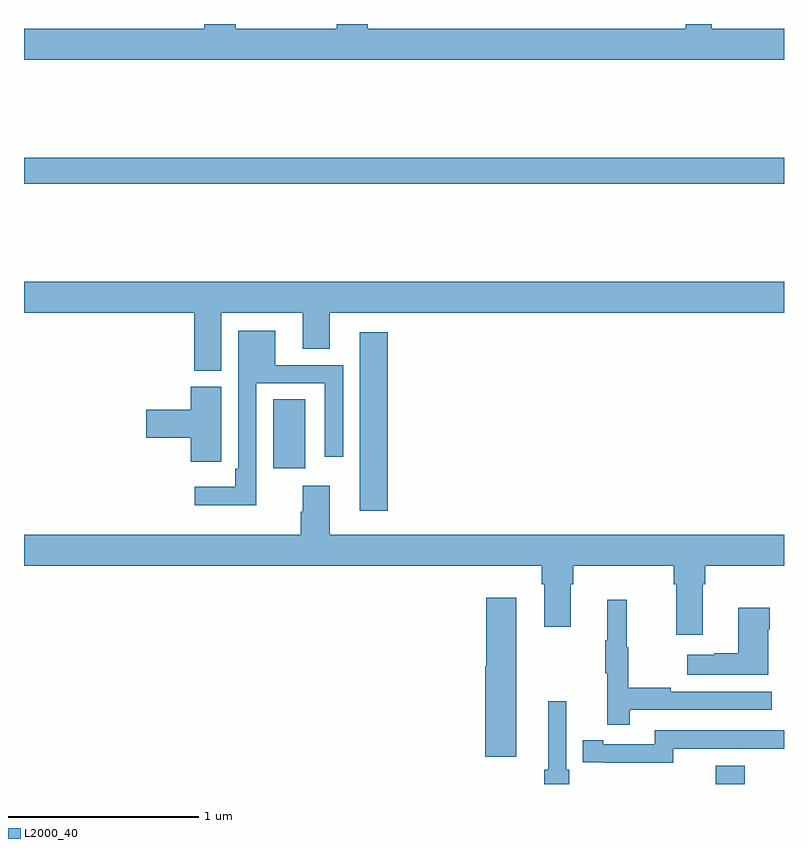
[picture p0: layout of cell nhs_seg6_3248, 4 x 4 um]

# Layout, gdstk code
import gdstk
lib = gdstk.Library(unit=1e-6, precision=1e-09)
def R(c, l, rs):  # rectangles x0, y0, x1, y1
    for r in rs: c.add(gdstk.rectangle(r[:2], r[2:], *l))
def P(c, l, *ps):  # polygons
    for p in ps: c.add(gdstk.Polygon(p, *l))
L2000_40 = (2000, 40)

nhs_seg6_3248 = lib.new_cell('nhs_seg6_3248')
R(nhs_seg6_3248, L2000_40, [(304.64,967.5,304.793,967.597), (302.768,968.937,302.915,969.877), (302.312,969.162,302.479,969.524), (301,970.66,305,970.796)])
P(nhs_seg6_3248, L2000_40, [(305,971.476),(304.621,971.476),(304.621,971.5),(304.482,971.5),(304.482,971.476),(302.81,971.476),(302.81,971.5),(302.645,971.5),(302.645,971.476),(302.114,971.476),(302.114,971.5),(301.949,971.5),(301.949,971.476),(301,971.476),(301,971.312),(305,971.312)],
  [(302.038,969.98),(302.468,969.98),(302.468,969.79),(302.608,969.79),(302.608,969.98),(305,969.98),(305,970.144),(301,970.144),(301,969.98),(301.895,969.98),(301.895,969.676),(302.038,969.676)],
  [(302.223,969.609),(302.583,969.609),(302.583,969.222),(302.679,969.222),(302.679,969.705),(302.323,969.705),(302.323,969.886),(302.127,969.886),(302.127,969.16),(302.111,969.16),(302.111,969.064),(301.899,969.064),(301.899,968.966),(302.223,968.966)],
  [(302.037,969.307),(302.038,969.307),(302.038,969.591),(301.877,969.591),(301.877,969.47),(301.644,969.47),(301.644,969.323),(301.877,969.323),(301.877,969.195),(302.037,969.195)],
  [(302.608,969.07),(302.468,969.07),(302.468,968.933),(302.456,968.933),(302.456,968.812),(301,968.812),(301,968.648),(303.725,968.648),(303.725,968.552),(303.737,968.552),(303.737,968.328),(303.877,968.328),(303.877,968.552),(303.89,968.552),(303.89,968.648),(304.421,968.648),(304.421,968.552),(304.433,968.552),(304.433,968.286),(304.573,968.286),(304.573,968.552),(304.586,968.552),(304.586,968.648),(305,968.648),(305,968.812),(302.608,968.812)],
  [(303.592,968.479),(303.434,968.479),(303.434,968.121),(303.428,968.121),(303.428,967.644),(303.592,967.644)],
  [(304.187,967.89),(304.936,967.89),(304.936,967.986),(304.403,967.986),(304.403,968.006),(304.18,968.006),(304.18,968.22),(304.172,968.22),(304.172,968.47),(304.07,968.47),(304.07,968.257),(304.059,968.257),(304.059,968.083),(304.07,968.083),(304.07,967.812),(304.187,967.812)],
  [(304.918,968.315),(304.926,968.315),(304.926,968.428),(304.76,968.428),(304.76,968.189),(304.634,968.189),(304.634,968.179),(304.491,968.179),(304.491,968.075),(304.918,968.075)],
  [(303.869,967.576),(303.855,967.576),(303.855,967.936),(303.758,967.936),(303.758,967.576),(303.739,967.576),(303.739,967.5),(303.869,967.5)],
  [(304.416,967.686),(304.876,967.686),(304.876,967.685),(305,967.685),(305,967.782),(304.32,967.782),(304.32,967.71),(304.048,967.71),(304.048,967.73),(303.94,967.73),(303.94,967.614),(304.048,967.614),(304.048,967.613),(304.416,967.613)])

lib.write_gds('nhs_seg6_3248.gds')
